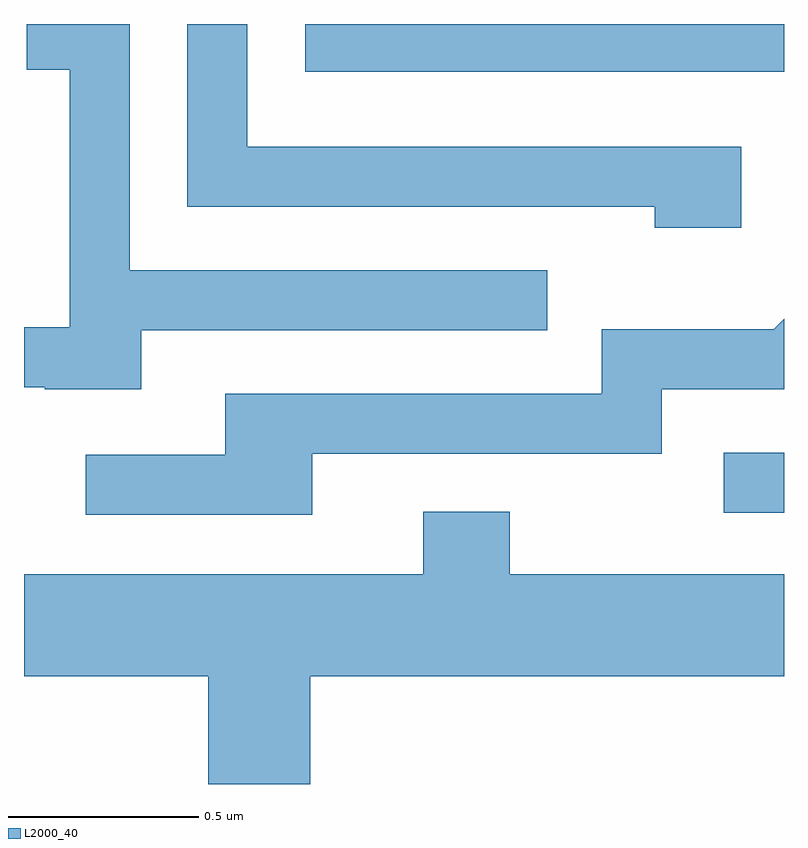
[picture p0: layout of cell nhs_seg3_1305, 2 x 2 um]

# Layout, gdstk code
import gdstk
lib = gdstk.Library(unit=1e-6, precision=1e-09)
def R(c, l, rs):  # rectangles x0, y0, x1, y1
    for r in rs: c.add(gdstk.rectangle(r[:2], r[2:], *l))
def P(c, l, *ps):  # polygons
    for p in ps: c.add(gdstk.Polygon(p, *l))
L2000_40 = (2000, 40)

nhs_seg3_1305 = lib.new_cell('nhs_seg3_1305')
R(nhs_seg3_1305, L2000_40, [(196.453,1188.606,196.611,1188.764), (195.351,1189.766,196.611,1189.892)])
P(nhs_seg3_1305, L2000_40, [(194.919,1189.086),(195.988,1189.086),(195.988,1189.244),(194.889,1189.244),(194.889,1189.892),(194.618,1189.892),(194.618,1189.771),(194.731,1189.771),(194.731,1189.094),(194.611,1189.094),(194.611,1188.936),(194.665,1188.936),(194.665,1188.931),(194.919,1188.931)],
  [(196.499,1189.569),(195.199,1189.569),(195.199,1189.892),(195.041,1189.892),(195.041,1189.411),(196.271,1189.411),(196.271,1189.356),(196.499,1189.356)],
  [(195.369,1188.761),(196.289,1188.761),(196.289,1188.931),(196.611,1188.931),(196.611,1189.116),(196.584,1189.089),(196.131,1189.089),(196.131,1188.919),(195.141,1188.919),(195.141,1188.759),(194.773,1188.759),(194.773,1188.601),(195.369,1188.601)],
  [(195.364,1188.176),(196.611,1188.176),(196.611,1188.444),(195.889,1188.444),(195.889,1188.609),(195.661,1188.609),(195.661,1188.444),(194.611,1188.444),(194.611,1188.176),(195.096,1188.176),(195.096,1187.892),(195.364,1187.892)])

lib.write_gds('nhs_seg3_1305.gds')
